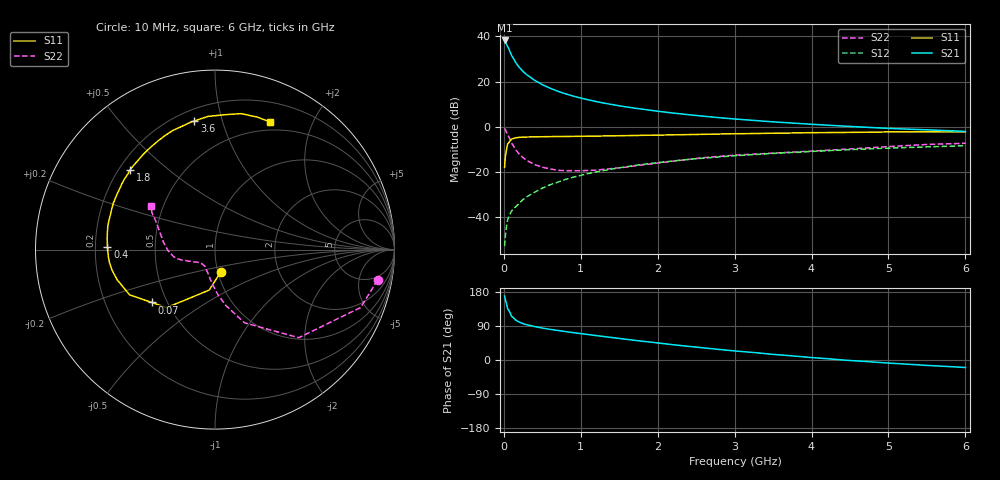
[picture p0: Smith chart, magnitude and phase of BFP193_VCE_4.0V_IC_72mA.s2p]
! (c) 2017  Infineon Technologies AG, Munich
! Infineon Technologies  Discrete & RF Semiconductors
! BFP193
! VCE =  4.0 V,  IC =  72 mA
! Common Emitter S-Parameters:  Jan 2017
# GHz  S  MA  R  50
!  f  S11  S21  S12  S22
! GHz  MAG  ANG  MAG  ANG  MAG  ANG  MAG  ANG
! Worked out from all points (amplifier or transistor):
!   77 points, 10 MHz to 6 GHz, reference 50 ohm
!   highest |S21| = 38.2 dB at 10 MHz (marker M1)
!   |S21| within 3 dB of that: start of sweep to 54.31 MHz
!   unconditionally stable (mu >= 1): 396.2 MHz to 2.363 GHz
!   at 130 MHz: K = 0.71, MSG = 33.0 dB, |S12| = -36.1 dB
!   at 2.2 GHz: K = 1.01, MAG = 10.0 dB, |S12| = -15.1 dB
!   at 6 GHz: K = 0.93, MSG = 3.2 dB, |S12| = -8.4 dB
!   S11 on the Smith chart (normalised r, x): 10 MHz: 1.03, -0.26; 70 MHz: 0.41, -0.31; 400 MHz: 0.25, +0.01; 1.8 GHz: 0.24, +0.38; 3.6 GHz: 0.27, +0.82; 6 GHz: 0.41, +1.45
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0.01  0.1277 -75.2  81.2 168.9  0.0023 91.7  0.9215 -10.6
0.02  0.2276 -98.1  77.97 158.7  0.0039 81.7  0.8732 -21.7
0.05  0.4207 -129.8  59.55 135.0  0.0089 65.8  0.6774 -46.4
0.07  0.4591 -140.1  50.34 129.1  0.0108 64.5  0.5739 -52.9
0.1  0.5386 -152.1  38.09 115.3  0.0137 63.3  0.4403 -68.0
0.15  0.5703 -162.8  26.96 105.9  0.017 62.9  0.317 -79.0
0.2  0.585 -168.7  20.72 100.1  0.0202 66.1  0.2503 -86.5
0.25  0.5931 -173.3  16.76 95.8  0.0248 66.4  0.2082 -91.6
0.3  0.5957 -176.6  14.05 92.9  0.0284 68.5  0.1799 -96.6
0.4  0.5995 178.4  10.66 88.1  0.0358 70.0  0.1466 -103.8
0.5  0.604 174.2  8.546 84.3  0.0441 70.5  0.1281 -110.3
0.7  0.6114 167.5  6.144 78.1  0.0598 71.3  0.1095 -120.6
0.9  0.6143 161.3  4.789 72.3  0.0768 69.2  0.1072 -128.3
1.1  0.6224 155.6  3.945 67.1  0.0928 67.5  0.1085 -135.0
1.4  0.6302 147.3  3.125 59.4  0.1162 64.1  0.1192 -143.6
1.8  0.6493 136.6  2.46 49.5  0.1472 59.1  0.1439 -152.3
2.1  0.66 128.9  2.114 42.7  0.1689 55.1  0.166 -157.7
3.1  0.7061 107.9  1.448 22.3  0.2344 41.9  0.2409 -172.8
3.6  0.7259 99.1  1.257 13.3  0.2632 36.1  0.2676 178.9
4.1  0.7444 91.4  1.114 5.0  0.2909 30.0  0.2969 169.5
5.1  0.7714 77.7  0.91 -9.3  0.3422 18.2  0.3736 153.4
6  0.7745 66.5  0.795 -19.8  0.3822 8.1  0.4322 145.5
